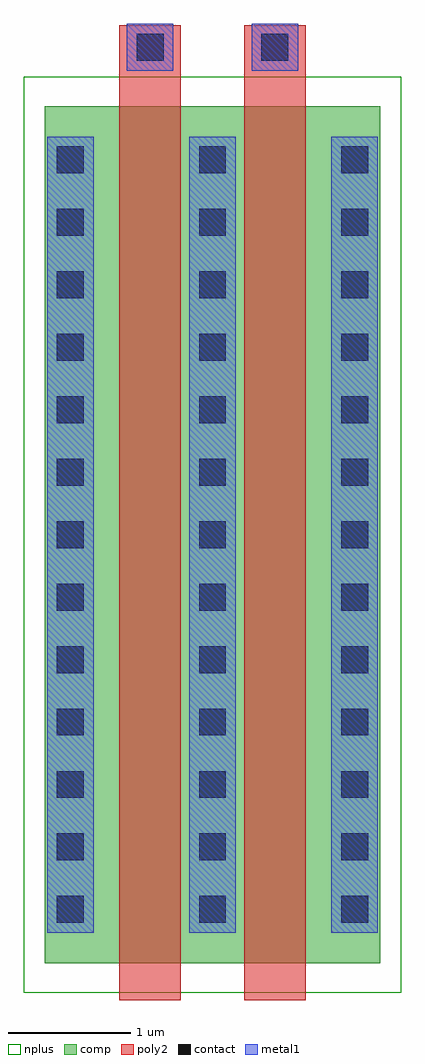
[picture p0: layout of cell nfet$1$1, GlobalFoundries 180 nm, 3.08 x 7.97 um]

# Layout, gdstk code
import gdstk
lib = gdstk.Library(unit=1e-6, precision=5e-09)
def R(c, l, rs):  # rectangles x0, y0, x1, y1
    for r in rs: c.add(gdstk.rectangle(r[:2], r[2:], *l))
def A(c, l, x, y, w, h, nx, ny, dx, dy):  # array of equal rectangles
    R(c, l, [(x+i*dx, y+j*dy, x+i*dx+w, y+j*dy+h) for i in range(nx) for j in range(ny)])
comp = (22, 0)
poly2 = (30, 0)
nplus = (32, 0)
contact = (33, 0)
metal1 = (34, 0)

nfet_1_1 = lib.new_cell('nfet$1$1')
R(nfet_1_1, comp, [(-0.42,0,0,7), (0,0,1.9,7), (1.9,0,2.32,7)])
R(nfet_1_1, poly2, [(0.19,-0.3,0.69,7.3), (1.21,-0.3,1.71,7.3), (0.19,7.3,0.69,7.66), (1.21,7.3,1.71,7.66)])
R(nfet_1_1, nplus, [(-0.59,-0.24,2.49,7.24)])
A(nfet_1_1, contact, -0.32, 0.33, 0.22, 0.22, 3, 13, 1.16, 0.51)
R(nfet_1_1, contact, [(0.33,7.37,0.55,7.59), (1.35,7.37,1.57,7.59)])
A(nfet_1_1, metal1, -0.4, 0.25, 0.38, 6.5, 3, 1, 1.16, 0)
R(nfet_1_1, metal1, [(0.25,7.29,0.63,7.67), (1.27,7.29,1.65,7.67)])

lib.write_gds('nfet_1_1.gds')
